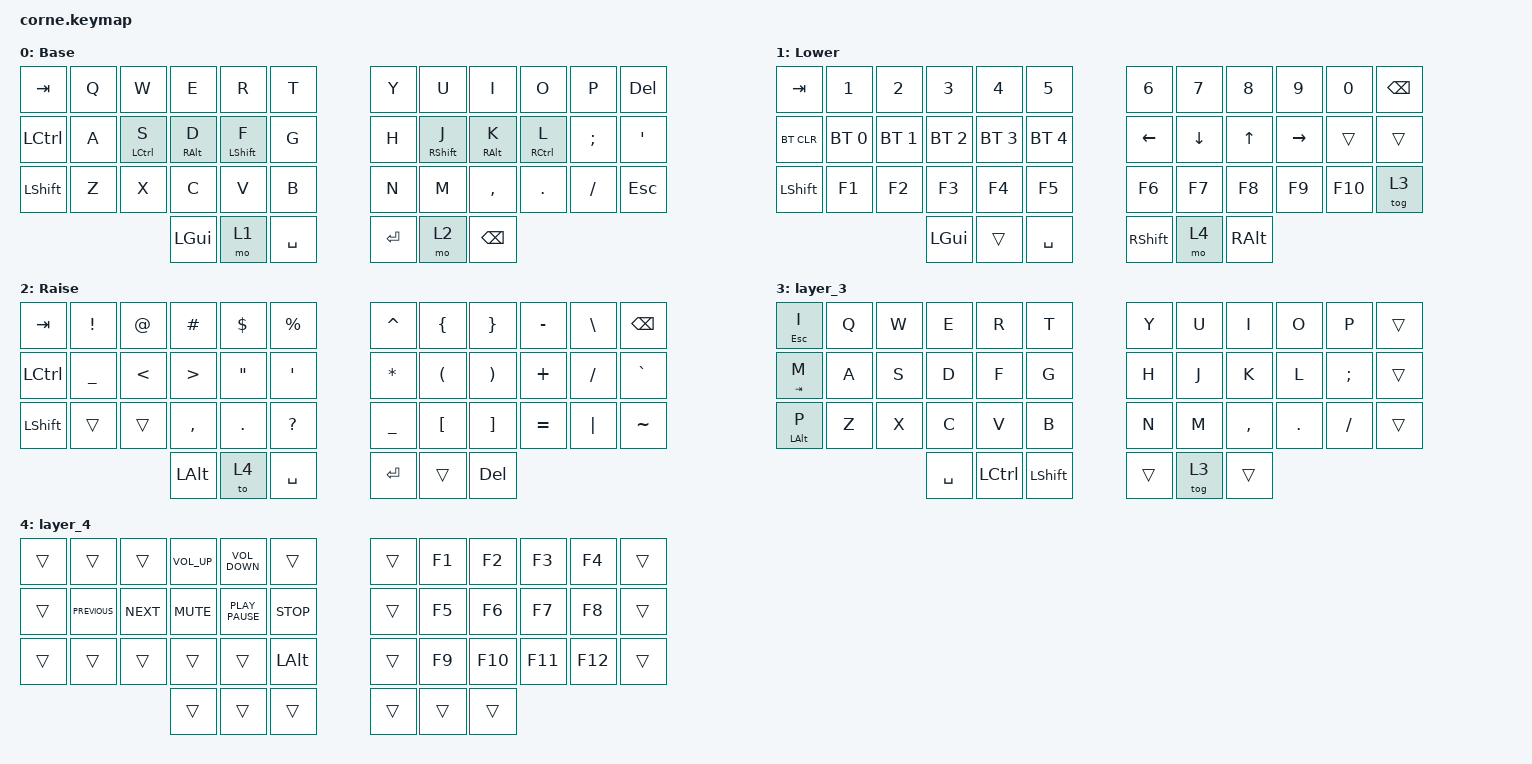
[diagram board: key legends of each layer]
/*
 * Copyright (c) 2020 The ZMK Contributors
 *
 * SPDX-License-Identifier: MIT
 */

#include <behaviors.dtsi>
#include <dt-bindings/zmk/bt.h>
#include <dt-bindings/zmk/keys.h>

&mt {
    tapping-term-ms = <200>;
    flavor = "tap-preferred";
    require-prior-idle-ms = <20>;
};

/ {
    combos {
        compatible = "zmk,combos";

        funclayer {
            bindings = <&sl 4>;
            key-positions = <37 40>;
            layers = <0 1 2>;
        };
    };

    keymap {
        compatible = "zmk,keymap";

        default_layer {
            // -----------------------------------------------------------------------------------------
            // |  TAB |  Q  |  W  |  E  |  R  |  T  |   |  Y  |  U   |  I  |  O  |  P  | BKSP |
            // | CTRL |  A  |  S  |  D  |  F  |  G  |   |  H  |  J   |  K  |  L  |  ;  |  '   |
            // | SHFT |  Z  |  X  |  C  |  V  |  B  |   |  N  |  M   |  ,  |  .  |  /  | ESC  |
            //                    | GUI | LWR | SPC |   | ENT | RSE  | ALT |

            label = "Base";
            bindings = <
&kp TAB    &kp Q  &kp W               &kp E            &kp R             &kp T        &kp Y    &kp U              &kp I            &kp O                &kp P     &kp DELETE
&kp LCTRL  &kp A  &mt LEFT_CONTROL S  &mt RIGHT_ALT D  &mt LEFT_SHIFT F  &kp G        &kp H    &mt RIGHT_SHIFT J  &mt RIGHT_ALT K  &mt RIGHT_CONTROL L  &kp SEMI  &kp SQT
&kp LSHFT  &kp Z  &kp X               &kp C            &kp V             &kp B        &kp N    &kp M              &kp COMMA        &kp DOT              &kp FSLH  &kp ESC
                                      &kp LGUI         &mo 1             &kp SPACE    &kp RET  &mo 2              &kp BACKSPACE
            >;
        };

        lower_layer {
            // -----------------------------------------------------------------------------------------
            // |  TAB |  1  |  2  |  3  |  4  |  5  |   |  6  |  7  |  8  |  9  |  0  | BKSP |
            // | BTCLR| BT1 | BT2 | BT3 | BT4 | BT5 |   | LFT | DWN |  UP | RGT |     |      |
            // | SHFT |     |     |     |     |     |   |     |     |     |     |     |      |
            //                    | GUI |     | SPC |   | ENT |     | ALT |

            label = "Lower";
            bindings = <
&kp TAB     &kp N1        &kp N2        &kp N3        &kp N4        &kp N5          &kp N6           &kp N7    &kp N8    &kp N9     &kp N0   &kp BSPC
&bt BT_CLR  &bt BT_SEL 0  &bt BT_SEL 1  &bt BT_SEL 2  &bt BT_SEL 3  &bt BT_SEL 4    &kp LEFT         &kp DOWN  &kp UP    &kp RIGHT  &trans   &trans
&kp LSHFT   &kp F1        &kp F2        &kp F3        &kp F4        &kp F5          &kp F6           &kp F7    &kp F8    &kp F9     &kp F10  &tog 3
                                        &kp LGUI      &trans        &kp SPACE       &kp RIGHT_SHIFT  &mo 4     &kp RALT
            >;
        };

        raise_layer {
            // -----------------------------------------------------------------------------------------
            // |  TAB |  !  |  @  |  #  |  $  |  %  |   |  ^  |  &  |  *  |  (  |  )  | BKSP |
            // | CTRL |     |     |     |     |     |   |  -  |  =  |  [  |  ]  |  \  |  `   |
            // | SHFT |     |     |     |     |     |   |  _  |  +  |  {  |  }  | "|" |  ~   |
            //                    | GUI |     | SPC |   | ENT |     | ALT |

            label = "Raise";
            bindings = <
&kp TAB    &kp EXCL        &kp AT         &kp HASH          &kp DLLR           &kp PRCNT           &kp CARET  &kp LEFT_BRACE        &kp RIGHT_BRACE        &kp MINUS  &kp BACKSLASH  &kp BSPC
&kp LCTRL  &kp UNDERSCORE  &kp LESS_THAN  &kp GREATER_THAN  &kp DOUBLE_QUOTES  &kp SINGLE_QUOTE    &kp STAR   &kp LEFT_PARENTHESIS  &kp RIGHT_PARENTHESIS  &kp PLUS   &kp SLASH      &kp GRAVE
&kp LSHFT  &trans          &trans         &kp COMMA         &kp PERIOD         &kp QUESTION        &kp UNDER  &kp LEFT_BRACKET      &kp RIGHT_BRACKET      &kp EQUAL  &kp PIPE       &kp TILDE
                                          &kp LALT          &to 4              &kp SPACE           &kp RET    &trans                &kp DELETE
            >;
        };

        layer_3 {
            bindings = <
&mt ESC I       &kp Q  &kp W  &kp E      &kp R             &kp T             &kp Y   &kp U   &kp I      &kp O    &kp P     &trans
&mt TAB M       &kp A  &kp S  &kp D      &kp F             &kp G             &kp H   &kp J   &kp K      &kp L    &kp SEMI  &trans
&mt LEFT_ALT P  &kp Z  &kp X  &kp C      &kp V             &kp B             &kp N   &kp M   &kp COMMA  &kp DOT  &kp FSLH  &trans
                              &kp SPACE  &kp LEFT_CONTROL  &kp LEFT_SHIFT    &trans  &tog 3  &trans
            >;
        };

        layer_4 {
            bindings = <
&trans  &trans          &trans      &kp K_VOLUME_UP  &kp K_VOLUME_DOWN  &trans          &trans  &kp F1  &kp F2   &kp F3   &kp F4   &trans
&trans  &kp K_PREVIOUS  &kp K_NEXT  &kp K_MUTE       &kp K_PLAY_PAUSE   &kp K_STOP      &trans  &kp F5  &kp F6   &kp F7   &kp F8   &trans
&trans  &trans          &trans      &trans           &trans             &kp LEFT_ALT    &trans  &kp F9  &kp F10  &kp F11  &kp F12  &trans
                                    &trans           &trans             &trans          &trans  &trans  &trans
            >;
        };
    };

    conditional_layers {
        compatible = "zmk,conditional-layers";

        funcAndMedia {
            if-layers = <1 2>;
            then-layer = <4>;
        };
    };
};
